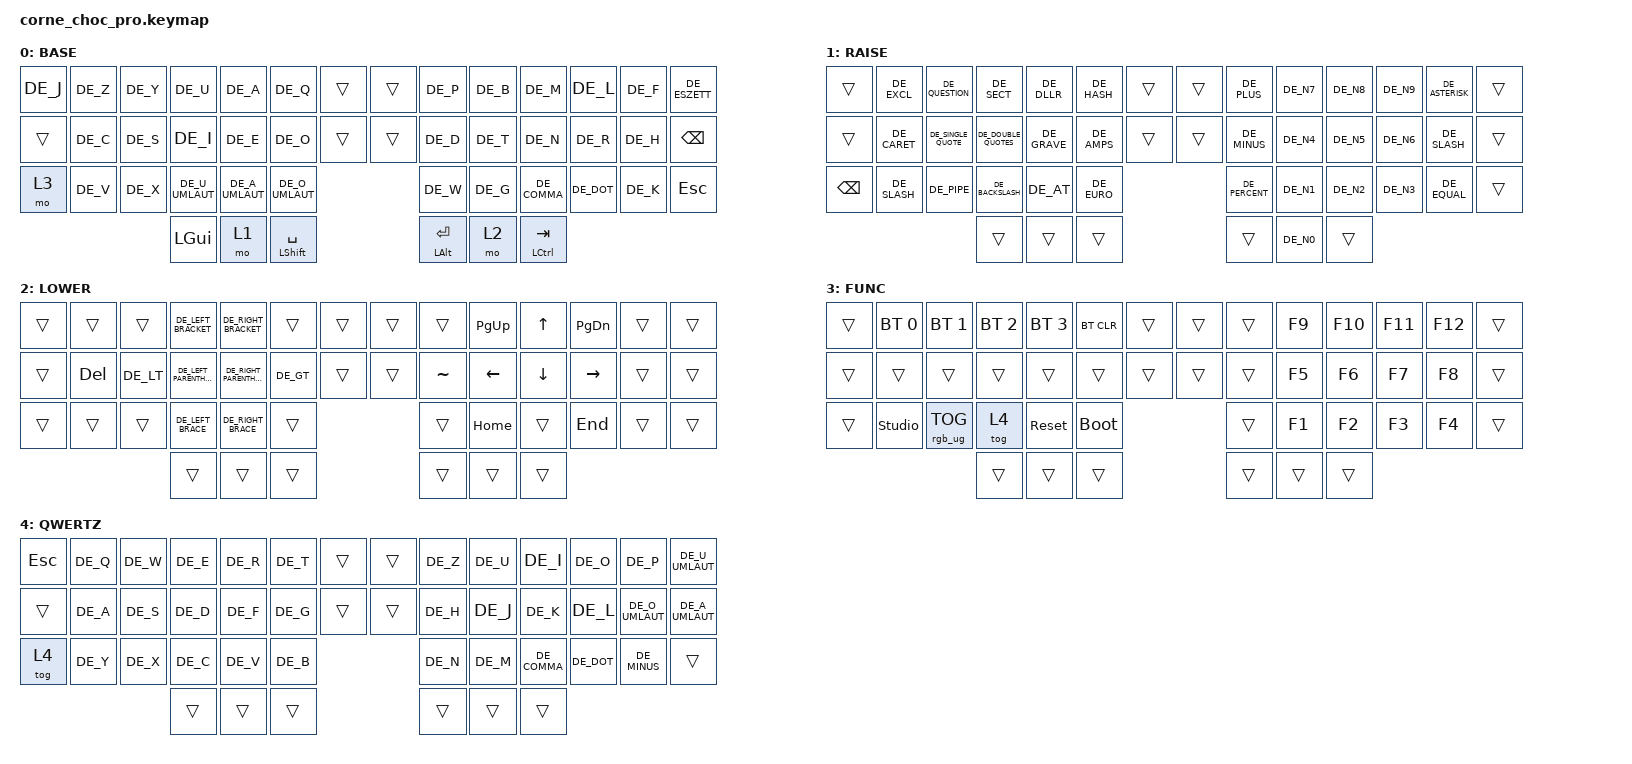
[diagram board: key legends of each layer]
/*
 * Copyright (c) 2020 The ZMK Contributors
 *
 * SPDX-License-Identifier: MIT
 */

#include <behaviors.dtsi>
#include <dt-bindings/zmk/bt.h>
#include <dt-bindings/zmk/keys.h>
#include <dt-bindings/zmk/rgb.h>
#include "keys_de.h"

/ {
    chosen { zmk,physical-layout = &default_layout; };
};

/ {
    behaviors {
        HoldTap: HoldTap {
            compatible = "zmk,behavior-hold-tap";
            label = "HOLDTAP";
            bindings = <&kp>, <&kp>;

            #binding-cells = <2>;
            tapping-term-ms = <200>;
        };
    };

    keymap {
        compatible = "zmk,keymap";

        base {
            display-name = "BASE";

            // -----------------------------------------------------------------------------------------
            // |  J  |  Z  |  Y  |  U  |  A  |  Q  |               |     |  P  |  B  |  M  |  L  |  F  |  ß  |
            // |     |  C  |  S  |  I  |  E  |  O  |               |  D  |  T  |  N  |  R  |  H  | BSPC|
            // | FN  |  V  |  X  |  Ü  |  Ä  |  Ö  |               |  W  |  G  |  ,  |  .  |  K  |     |
            //                   | GUI | LY1 | SFT/SPC |           | ALT/ENT | LY2 | CTL/TAB |

            bindings = <
&kp DE_J  &kp DE_Z  &kp DE_Y  &kp DE_U         &kp DE_A         &kp DE_Q               &trans  &trans  &kp DE_P                 &kp DE_B  &kp DE_M                   &kp DE_L    &kp DE_F  &kp DE_ESZETT
&trans    &kp DE_C  &kp DE_S  &kp DE_I         &kp DE_E         &kp DE_O               &trans  &trans  &kp DE_D                 &kp DE_T  &kp DE_N                   &kp DE_R    &kp DE_H  &kp BACKSPACE
&mo 3     &kp DE_V  &kp DE_X  &kp DE_U_UMLAUT  &kp DE_A_UMLAUT  &kp DE_O_UMLAUT                        &kp DE_W                 &kp DE_G  &kp DE_COMMA               &kp DE_DOT  &kp DE_K  &kp ESCAPE
                              &kp LGUI         &mo 1            &HoldTap LSHIFT SPACE                  &HoldTap LEFT_ALT ENTER  &mo 2     &HoldTap LEFT_CONTROL TAB
            >;
        };

        raise {
            display-name = "RAISE";

            // -----------------------------------------------------------------------------------------
            // |     |  !  |  ?  |  §  |  $  |  #  |               |  +  |  7  |  8  |  9  |  0  |     |
            // |     |  ^  |  '  |  "  |  `  |  &  |               |  *  |  4  |  5  |  6  |  =  |     |
            // | BSPC|  /  |  |  |  \  |  @  |  €  |               |  %  |  1  |  2  |  3  | TAB |     |
            //                   |     |     |     |               |     |     |     |

            bindings = <
&trans         &kp DE_EXCL   &kp DE_QUESTION      &kp DE_SECT           &kp DE_DLLR   &kp DE_HASH  &trans  &trans  &kp DE_PLUS     &kp DE_N7  &kp DE_N8  &kp DE_N9  &kp DE_ASTERISK  &trans
&trans         &kp DE_CARET  &kp DE_SINGLE_QUOTE  &kp DE_DOUBLE_QUOTES  &kp DE_GRAVE  &kp DE_AMPS  &trans  &trans  &kp DE_MINUS    &kp DE_N4  &kp DE_N5  &kp DE_N6  &kp DE_SLASH     &trans
&kp BACKSPACE  &kp DE_SLASH  &kp DE_PIPE          &kp DE_BACKSLASH      &kp DE_AT     &kp DE_EURO                  &kp DE_PERCENT  &kp DE_N1  &kp DE_N2  &kp DE_N3  &kp DE_EQUAL     &trans
                                                  &trans                &trans        &trans                       &trans          &kp DE_N0  &trans
            >;
        };

        lower {
            display-name = "LOWER";

            // -----------------------------------------------------------------------------------------
            // |     |     |     |  [  |  ]  |     |               |     | PGUP|  UP | PGDN|     |     |
            // |     | DEL |  <  |  (  |  )  |  >  |               |  ~  | LEFT| DOWN|RIGHT|     |     |
            // |     |     |     |  {  |  }  |     |               |     | HOME|     | END |     |     |
            //                   |     |     |     |               |     |     |     |

            bindings = <
&trans  &trans      &trans     &kp DE_LEFT_BRACKET      &kp DE_RIGHT_BRACKET      &trans     &trans  &trans  &trans     &kp PAGE_UP  &kp UP    &kp PAGE_DOWN  &trans  &trans
&trans  &kp DELETE  &kp DE_LT  &kp DE_LEFT_PARENTHESIS  &kp DE_RIGHT_PARENTHESIS  &kp DE_GT  &trans  &trans  &kp TILDE  &kp LEFT     &kp DOWN  &kp RIGHT      &trans  &trans
&trans  &trans      &trans     &kp DE_LEFT_BRACE        &kp DE_RIGHT_BRACE        &trans                     &trans     &kp HOME     &trans    &kp END        &trans  &trans
                               &trans                   &trans                    &trans                     &trans     &trans       &trans
            >;
        };

        function {
            display-name = "FUNC";

            // -----------------------------------------------------------------------------------------
            // |     | BT0 | BT1 | BT2 | BT3 | BTCLR|              |     |  F9 | F10 | F11 | F12 |     |
            // |     |     |     |     |     |      |              |     |  F5 |  F6 |  F7 |  F8 |     |
            // |     | UNLK| RGB | TG4 | RST | BOOT |              |     |  F1 |  F2 |  F3 |  F4 |     |
            //                   |     |     |      |              |     |     |     |

            bindings = <
&trans  &bt BT_SEL 0    &bt BT_SEL 1     &bt BT_SEL 2  &bt BT_SEL 3  &bt BT_CLR   &trans  &trans  &trans  &kp F9  &kp F10  &kp F11  &kp F12  &trans
&trans  &trans          &trans           &trans        &trans        &trans       &trans  &trans  &trans  &kp F5  &kp F6   &kp F7   &kp F8   &trans
&trans  &studio_unlock  &rgb_ug RGB_TOG  &tog 4        &sys_reset    &bootloader                  &trans  &kp F1  &kp F2   &kp F3   &kp F4   &trans
                                         &trans        &trans        &trans                       &trans  &trans  &trans
            >;
        };

        qwertz {
            display-name = "QWERTZ";

            // -----------------------------------------------------------------------------------------
            // | ESC |  Q  |  W  |  E  |  R  |  T  |               |  Z  |  U  |  I  |  O  |  P  |  Ü  |
            // |     |  A  |  S  |  D  |  F  |  G  |               |  H  |  J  |  K  |  L  |  Ö  |  Ä  |
            // | TG4 |  Y  |  X  |  C  |  V  |  B  |               |  N  |  M  |  ,  |  .  |  -  |     |
            //                   |     |     |     |               |     |     |     |

            bindings = <
&kp ESC  &kp DE_Q  &kp DE_W  &kp DE_E  &kp DE_R  &kp DE_T  &trans  &trans  &kp DE_Z  &kp DE_U  &kp DE_I      &kp DE_O    &kp DE_P         &kp DE_U_UMLAUT
&trans   &kp DE_A  &kp DE_S  &kp DE_D  &kp DE_F  &kp DE_G  &trans  &trans  &kp DE_H  &kp DE_J  &kp DE_K      &kp DE_L    &kp DE_O_UMLAUT  &kp DE_A_UMLAUT
&tog 4   &kp DE_Y  &kp DE_X  &kp DE_C  &kp DE_V  &kp DE_B                  &kp DE_N  &kp DE_M  &kp DE_COMMA  &kp DE_DOT  &kp DE_MINUS     &trans
                             &trans    &trans    &trans                    &trans    &trans    &trans
            >;
        };
    };
};
